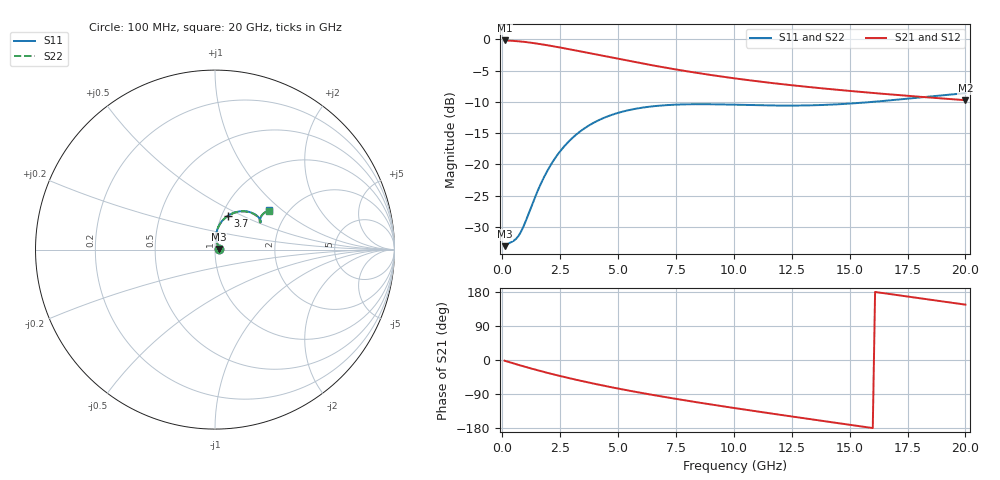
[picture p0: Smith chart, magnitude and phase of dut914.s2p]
! Touchstone file exported from HFSS 2024.1.0
!  File:  C:/UserFiles/LocalFiles/RDL_TSV_Batchsim/temp_RDL_TSV_914_1779956742.aedt
!  Generated:  04:39:19 PM May 28, 2026
!  Design:  RDL_TSV
!  Project:  temp_RDL_TSV_914_1779956742
!  Setup:  Setup1
!  Solution:  Sweep
! Variables:
!  dtsv = 10.09um
!  hbump = 3um
!  htsv = 67.93um
!  ldown = 639.49um
!  lrdl = 287.62um
!  p = 40
!  p1 = 54.22um
!  rhole = 10um
!  subl = 3068.95um
!  t = 450um
!  tdown = 4.77um
!  trdl = 2.01um
!  viad = 10um
!  wdown = 27.67um
!  wrdl = 12.24um
!  xbump = 18um
# GHz S MA R 50.000000
! Terminal data exported
! Port[1] = TM1_1_T1
! Port[2] = TM1_4_T1
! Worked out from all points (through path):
!   200 points, 100 MHz to 20 GHz, reference 50 ohm
!   highest |S21| = -0.20 dB at 100 MHz (marker M1); lowest = -9.7 dB at 20 GHz (marker M2)
!   group delay of S21, straight-line fit = 27.9 ps
!   lowest |S11| = -33.1 dB at 100 MHz (marker M3), VSWR 1.05, Z = 52.2 + j0.328 ohm
!   |S11| at or under -10 dB: start of sweep to 16.04 GHz
!   |S22| runs from -33.1 to -8.7 dB; largest |S21 - S12| = 4.9e-14
!   S11 on the Smith chart (normalised r, x): 100 MHz: 1.04, +0.01; 3.7 GHz: 1.07, +0.42; 20 GHz: 1.60, +0.81
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0.1  0.02219 8.1  0.9776 -1.9  0.9776 -1.9  0.02219 8.1
! Gamma 0 0 0 0
! Port Impedance 50 0 50 0
0.6  0.02544 41.5  0.9662 -11.1  0.9662 -11.1  0.02545 41.4
0.8  0.02876 56.1  0.9588 -14.7  0.9588 -14.7  0.02877 55.9
1  0.03474 68.3  0.95 -18.2  0.95 -18.2  0.03473 68.2
1.3  0.04832 79.7  0.9344 -23.3  0.9344 -23.3  0.04826 79.5
1.8  0.07883 85.3  0.9044 -31.5  0.9044 -31.5  0.07865 85.2
2.2  0.1064 84.1  0.8784 -37.8  0.8784 -37.8  0.1061 83.9
2.6  0.1342 80.8  0.8515 -43.8  0.8515 -43.8  0.1338 80.6
3  0.1608 76.7  0.8245 -49.5  0.8245 -49.5  0.1603 76.5
3.5  0.1912 71.2  0.7911 -56.4  0.7911 -56.4  0.1906 71.0
3.7  0.2023 69.0  0.778 -59.1  0.778 -59.1  0.2016 68.8
4.3  0.2314 62.6  0.7397 -66.8  0.7397 -66.8  0.2306 62.5
5  0.2579 56.0  0.6974 -75.3  0.6974 -75.3  0.2568 55.8
5.9  0.2811 48.6  0.6478 -85.7  0.6478 -85.7  0.2799 48.5
6.8  0.2946 42.7  0.6038 -95.4  0.6038 -95.4  0.2932 42.6
8.4  0.3025 35.4  0.5386 -111.5  0.5386 -111.5  0.3009 35.4
10.1  0.2995 31.6  0.4849 -127.5  0.4849 -127.5  0.2978 31.5
11.7  0.2953 31.0  0.4455 -141.9  0.4455 -141.9  0.2936 30.9
13.4  0.2965 32.4  0.4121 -157.0  0.4121 -157.0  0.2948 32.4
15  0.3059 34.5  0.3863 -170.9  0.3863 -170.9  0.3043 34.5
16.7  0.3242 36.2  0.3629 174.3  0.3629 174.3  0.3227 36.2
20  0.3706 36.0  0.3258 146.1  0.3258 146.1  0.3692 36.0
